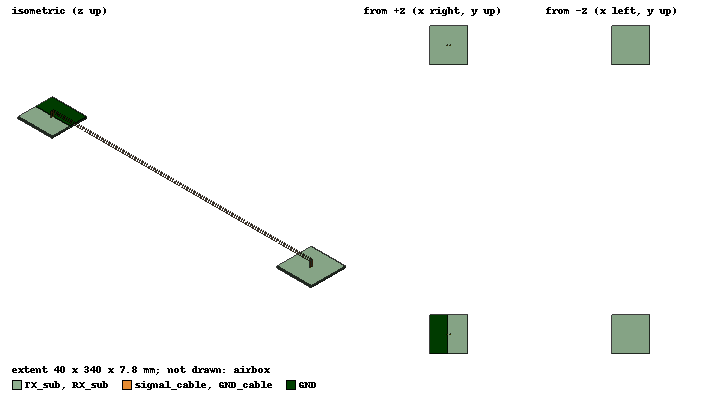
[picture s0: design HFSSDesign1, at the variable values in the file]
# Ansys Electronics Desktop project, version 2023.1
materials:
  vacuum: permittivity=1
  FR4_epoxy: permittivity=4.4 dielectric_loss_tangent=0.02
  copper: permeability=0.999991 conductivity=58000000
  air: permittivity=1.0006 permeability=1.0000004

design HFSSDesign1 (HFSS, HFSS Terminal Network, model units mm)
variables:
  cable_r = 0.2mm
  cable_l = 30cm
  term_r = 10kOhm
  term_c = 4.8pF
  sub_w = 40mm
  d = 2.54mm
  load_r1 = 21ohm
  load_r0 = 18ohm
  load_c0 = 4.68pF
  load_l1 = 4.77nH
  load_l0 = 4.76nH
  h = 1.6mm
  load_c1 = 4.87pF
  pad_w = 1mm
  pad_h = 0.035mm
  total_h = 7.6mm
  airbox_w = sub_w+2*air_margin
  air_margin = 190mm
  airbox_y = cable_l+sub_w+2*air_margin
  airbox_z = total_h + cable_r + 2*air_margin
  airbox_x = airbox_w
  state = 0
  r_load = load_r0+state*(load_r1-load_r0)
  l_load = load_l0+state*(load_l1-load_l0)
  c_load = load_c0+state*(load_c1-load_c0)
  r_int = 0.4mm
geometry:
  TX_sub [FR4_epoxy] = box(corner=(-sub_w/2, -cable_l/2-sub_w/2, 0mm), size=(sub_w, sub_w, h))
  RX_sub [FR4_epoxy] = box(corner=(-sub_w/2, cable_l/2-sub_w/2, 0mm), size=(sub_w, sub_w, h))
  tx_GND_pad [copper] = box(corner=(-d/2-0.5mm, -cable_l/2-0.5mm, h), size=(1mm, 1mm, 0.035mm))
  tx_signal_pad [copper] = box(corner=(d/2-0.5mm, -cable_l/2-0.5mm, h), size=(1mm, 1mm, 0.035mm))
  rx_GND_pad [copper] = box(corner=(-d/2-0.5mm, cable_l/2-0.5mm, h), size=(1mm, 1mm, 0.035mm))
  rx_signal_pad [copper] = box(corner=(d/2-0.5mm, cable_l/2-0.5mm, h), size=(1mm, 1mm, 0.035mm))
  signal_cable [copper] = cylinder(axis=Y, base_centre=(d/2, -cable_l/2, 7.6mm), radius=cable_r, height=cable_l)
  GND_cable [copper] = cylinder(axis=Y, base_centre=(-d/2, -cable_l/2, 7.6mm), radius=cable_r, height=cable_l)
  signal_pin_1 = cylinder(axis=Z, base_centre=(d/2, -cable_l/2, h+0.035mm), radius=cable_r, height=5.965mm)
  signal_pin_2 = cylinder(axis=Z, base_centre=(d/2, cable_l/2, h+0.035mm), radius=cable_r, height=5.965mm)
  GND_pin_1 = cylinder(axis=Z, base_centre=(-d/2, -cable_l/2, h+0.035mm), radius=cable_r, height=5.965mm)
  GND_pin_2 = cylinder(axis=Z, base_centre=(-d/2, cable_l/2, h+0.035mm), radius=cable_r, height=5.965mm)
  GND = rectangle(corner=(-sub_w/2, -cable_l/2-sub_w/2, h), x_size=sub_w/2-d/2+pad_w/2, y_size=sub_w)
  tx_load_rl = rectangle(corner=(-d/2+pad_w/2, -cable_l/2, h+0.035mm), x_size=d-pad_w, y_size=0.1mm)
  tx_load_c = rectangle(corner=(-d/2+pad_w/2, -cable_l/2-0.11mm, h+0.035mm), x_size=d-pad_w, y_size=0.1mm)
  rx_load_rc = rectangle(corner=(-d/2+pad_w/2, cable_l/2, h+0.035mm), x_size=d-pad_w, y_size=0.1mm)
  airbox [air] = box(corner=(-airbox_x/2, -airbox_y/2, -air_margin), size=(airbox_x, airbox_y, airbox_z))
  signal_cable.unite(signal_pin_1, signal_pin_2)
  GND_cable.unite(GND_pin_1, GND_pin_2)
  point Point1 = (15cm, 0mm, 7.6mm)
  point Point2 = (15cm, 0mm, 0mm)
  i_signal [non-model] = circle(normal=Y, centre=(d/2, 0mm, total_h), radius=r_int)
  i_GND [non-model] = circle(normal=Y, centre=(-d/2, 0mm, total_h), radius=r_int)
  i_GND_same_direction [non-model] = circle(normal=Y, centre=(-d/2, 0mm, total_h), radius=r_int)
  i_signal1 [non-model] = circle(normal=Y, centre=(d/2, cable_l/2, total_h), radius=r_int)
  i_signal2 [non-model] = circle(normal=Y, centre=(d/2, -cable_l/2, total_h), radius=r_int)
  i_signal3 [non-model] = circle(normal=Y, centre=(d/2, cable_l/3, total_h), radius=r_int)
  i_signal4 [non-model] = circle(normal=Y, centre=(d/2, -cable_l/3, total_h), radius=r_int)
  i_GND1 [non-model] = circle(normal=Y, centre=(-d/2, cable_l/2, total_h), radius=r_int)
  i_GND2 [non-model] = circle(normal=Y, centre=(-d/2, -cable_l/2, total_h), radius=r_int)
  i_GND3 [non-model] = circle(normal=Y, centre=(-d/2, cable_l/3, total_h), radius=r_int)
  i_GND4 [non-model] = circle(normal=Y, centre=(-d/2, -cable_l/3, total_h), radius=r_int)
  i_GND5 [non-model] = circle(normal=Y, centre=(-d/2, 0mm, total_h), radius=r_int)
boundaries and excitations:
  PerfE1: Perfect E Objects=GND
  LumpRLC1: Lumped RLC Objects=tx_load_c CurrentLine{(0.77, -150.06, 1.635) -> (-0.77, -150.06, 1.635)} RLC_Type=Parallel Capacitance=c_load
  LumpRLC2: Lumped RLC Objects=tx_load_rl CurrentLine{(0.77, -149.95, 1.635) -> (-0.77, -149.95, 1.635)} RLC_Type=Serial Resistance=r_load Inductance=l_load
  LumpRLC3: Lumped RLC Objects=rx_load_rc CurrentLine{(0.77, 150.05, 1.635) -> (-0.77, 150.05, 1.635)} RLC_Type=Parallel Resistance=term_r Capacitance=term_c
  Rad1: Radiation Objects=airbox
  IncPWave1: Plane Incident Wave IsCartesian EoX=0 EoY=1 EoZ=0 kX=-1 kY=0 kZ=0 OriginX=0mm OriginY=0mm OriginZ=0mm IsPropagating
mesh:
  Mesh_Pads: LengthBased Objects=[rx_GND_pad, rx_signal_pad, tx_GND_pad, tx_signal_pad] MaxLength=0.2mm
  Mesh_RLC: LengthBased Objects=[tx_load_c, rx_load_rc, tx_load_rl] MaxLength=0.1mm
  Mesh_GND_Plane: LengthBased Objects=GND MaxLength=1mm
  Mesh_Cable_Length: LengthBased Objects=[GND_cable, signal_cable] MaxLength=2mm
  SurfApprox1: SurfApproxBased Objects=[signal_cable, GND_cable] CurvedSurfaceApproxChoice=ManualSettings
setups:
  Setup2: HfssDriven Frequency=1.6GHz MaxDeltaE=0.1 MaximumPasses=1 MinimumPasses=1 MinimumConvergedPasses=1 PercentRefinement=30 MeshLink{ImportMesh LinkID=265 Project=../HFSS_reference/reference_30cm.aedt Product=HFSS Design=HFSSDesign1 Params{air_margin=air_margin cable_l=cable_l cable_r=cable_r d=d h=h load_c0=load_c0 load_c1=load_c1 load_l0=load_l0 load_l1=load_l1 load_r0=load_r0 load_r1=load_r1 pad_h=pad_h pad_w=pad_w sub_w=sub_w term_c=term_c term_r=term_r total_h=total_h} PathRelativeTo=TargetProject} BasisOrder=1 DoLambdaRefine=false DrivenSolverType="Direct Solver"
    sweep Sweep: 400MHz to 1.6GHz step 10MHz; Type=Discrete SaveFields
  Setup1: HfssDriven Frequency=1.6GHz MaxDeltaE=0.02 MaximumPasses=8 MinimumPasses=2 MinimumConvergedPasses=2 PercentRefinement=20 MeshLink{ImportMesh LinkID=2264 Project=../HFSS_reference/reference_30cm.aedt Product=HFSS Design=HFSSDesign1 Params{air_margin=air_margin cable_l=cable_l cable_r=cable_r d=d h=h load_c0=load_c0 load_c1=load_c1 load_l0=load_l0 load_l1=load_l1 load_r0=load_r0 load_r1=load_r1 pad_h=pad_h pad_w=pad_w sub_w=sub_w term_c=term_c term_r=term_r total_h=total_h} PathRelativeTo=TargetProject} BasisOrder=1 DoLambdaRefine=false MaxTetIncrease=150000 DrivenSolverType="Iterative Solver" IterativeResidual=1e-06 DDMSolverResidual=0.0001
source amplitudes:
  IncPWave1:1: 1 0deg
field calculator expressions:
  Re_Ex = Fundamental_Quantity(0) | ScalarX | Real
  Im_Ex = Fundamental_Quantity(0) | ScalarX | Imag
  Re_Ey = Fundamental_Quantity(0) | ScalarY | Real
  Im_Ey = Fundamental_Quantity(0) | ScalarY | Imag
  Re_Ez = Fundamental_Quantity(0) | ScalarZ | Real
  Im_Ez = Fundamental_Quantity(0) | ScalarZ | Imag
  i_signal_re = <Hx,Hy,Hz> | Real | Tangent | Dot | EnterLine(i_signal) | LineValue | Integrate
  i_signal_im = <Hx,Hy,Hz> | Imag | Tangent | Dot | EnterLine(i_signal) | LineValue | Integrate
  i_gnd_re = <Hx,Hy,Hz> | Real | Tangent | Dot | EnterLine(i_GND) | LineValue | Integrate
  i_gnd_im = <Hx,Hy,Hz> | Imag | Tangent | Dot | EnterLine(i_GND) | LineValue | Integrate
  i_gnd_test_re = <Hx,Hy,Hz> | Real | Tangent | Dot | EnterLine(i_GND_same_direction) | LineValue | Integrate
  i_gnd_test_im = <Hx,Hy,Hz> | Imag | Tangent | Dot | EnterLine(i_GND_same_direction) | LineValue | Integrate
  i_signal_1_re = <Hx,Hy,Hz> | Real | Tangent | Dot | EnterLine(i_signal1) | LineValue | Integrate
  i_signal_1_im = <Hx,Hy,Hz> | Imag | Tangent | Dot | EnterLine(i_signal1) | LineValue | Integrate
  mp_i_signal_0_re = <Hx,Hy,Hz> | Real | Tangent | Dot | EnterLine(i_signal) | LineValue | Integrate
  mp_i_signal_0_im = <Hx,Hy,Hz> | Imag | Tangent | Dot | EnterLine(i_signal) | LineValue | Integrate
  mp_i_gnd_0_re = <Hx,Hy,Hz> | Real | Tangent | Dot | EnterLine(i_GND) | LineValue | Integrate
  mp_i_gnd_0_im = <Hx,Hy,Hz> | Imag | Tangent | Dot | EnterLine(i_GND) | LineValue | Integrate
  mp_i_signal_1_re = <Hx,Hy,Hz> | Real | Tangent | Dot | EnterLine(i_signal1) | LineValue | Integrate
  mp_i_signal_1_im = <Hx,Hy,Hz> | Imag | Tangent | Dot | EnterLine(i_signal1) | LineValue | Integrate
  mp_i_gnd_1_re = <Hx,Hy,Hz> | Real | Tangent | Dot | EnterLine(i_GND1) | LineValue | Integrate
  mp_i_gnd_1_im = <Hx,Hy,Hz> | Imag | Tangent | Dot | EnterLine(i_GND1) | LineValue | Integrate
  mp_i_signal_2_re = <Hx,Hy,Hz> | Real | Tangent | Dot | EnterLine(i_signal2) | LineValue | Integrate
  mp_i_signal_2_im = <Hx,Hy,Hz> | Imag | Tangent | Dot | EnterLine(i_signal2) | LineValue | Integrate
  mp_i_gnd_2_re = <Hx,Hy,Hz> | Real | Tangent | Dot | EnterLine(i_GND2) | LineValue | Integrate
  mp_i_gnd_2_im = <Hx,Hy,Hz> | Imag | Tangent | Dot | EnterLine(i_GND2) | LineValue | Integrate
  mp_i_signal_3_re = <Hx,Hy,Hz> | Real | Tangent | Dot | EnterLine(i_signal3) | LineValue | Integrate
  mp_i_signal_3_im = <Hx,Hy,Hz> | Imag | Tangent | Dot | EnterLine(i_signal3) | LineValue | Integrate
  mp_i_gnd_3_re = <Hx,Hy,Hz> | Real | Tangent | Dot | EnterLine(i_GND3) | LineValue | Integrate
  mp_i_gnd_3_im = <Hx,Hy,Hz> | Imag | Tangent | Dot | EnterLine(i_GND3) | LineValue | Integrate
  mp_i_signal_4_re = <Hx,Hy,Hz> | Real | Tangent | Dot | EnterLine(i_signal4) | LineValue | Integrate
  mp_i_signal_4_im = <Hx,Hy,Hz> | Imag | Tangent | Dot | EnterLine(i_signal4) | LineValue | Integrate
  mp_i_gnd_4_re = <Hx,Hy,Hz> | Real | Tangent | Dot | EnterLine(i_GND4) | LineValue | Integrate
  mp_i_gnd_4_im = <Hx,Hy,Hz> | Imag | Tangent | Dot | EnterLine(i_GND4) | LineValue | Integrate
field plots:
  Mesh1, Mesh2: MeshPlots over GND_cable.face(all 9) signal_cable.face(all 9) on Setup1 : LastAdaptive at Freq=1.6GHz Phase=0deg
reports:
  Calculator Expressions Plot 1: Im_Ex, Re_Ex, Re_Ey, Im_Ey, Re_Ez, Im_Ez vs Freq on Setup2 : Sweep [Phase=0deg]
  Calculator Expressions Plot 2: i_signal_re, i_signal_im, i_gnd_re, i_gnd_im vs Freq on Setup2 : Sweep [Phase=0deg]
  Calculator Expressions Plot 3: i_gnd_test_re, i_gnd_test_im, i_signal_1_re, i_signal_1_im vs Freq on Setup2 : Sweep [Phase=0deg state=all]
  Multi-position conductor currents: mp_i_signal_0_re, mp_i_signal_0_im, mp_i_gnd_0_re, mp_i_gnd_0_im, mp_i_signal_1_re, mp_i_signal_1_im, mp_i_gnd_1_re, mp_i_gnd_1_im, mp_i_signal_2_re, mp_i_signal_2_im, mp_i_gnd_2_re, mp_i_gnd_2_im, mp_i_signal_3_re, mp_i_signal_3_im, mp_i_gnd_3_re, mp_i_gnd_3_im, mp_i_signal_4_re, mp_i_signal_4_im, mp_i_gnd_4_re, mp_i_gnd_4_im vs Freq on Setup2 : Sweep [Phase=0deg state=all]
